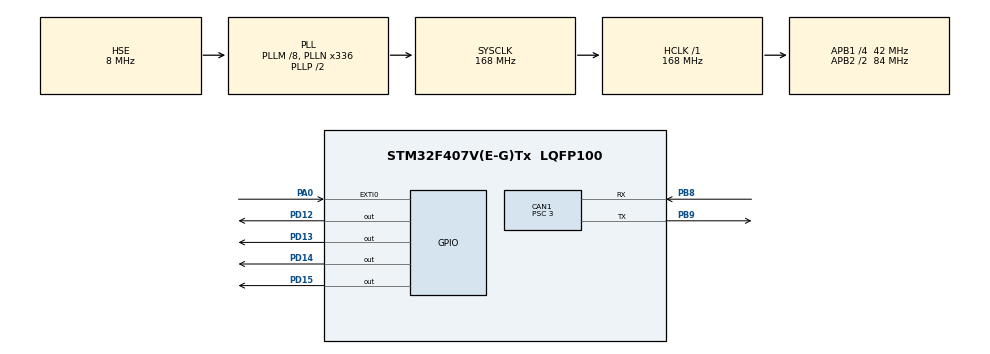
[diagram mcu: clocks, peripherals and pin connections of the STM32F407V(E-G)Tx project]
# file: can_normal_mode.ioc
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CAN1.BS1=CAN_BS1_11TQ
CAN1.BS2=CAN_BS2_2TQ
CAN1.CalculateBaudRate=1000000
CAN1.CalculateTimeBit=1000
CAN1.CalculateTimeQuantum=71.42857142857143
CAN1.Prescaler=3
Mcu.Family=STM32F4
Mcu.Name=STM32F407V(E-G)Tx
Mcu.Package=LQFP100
NVIC.CAN1_RX0_IRQn=true\:0\:0\:false\:false\:true\:true\:true\:true
NVIC.CAN1_SCE_IRQn=true\:0\:0\:false\:false\:true\:true\:true\:true
NVIC.CAN1_TX_IRQn=true\:0\:0\:false\:false\:true\:true\:true\:true
NVIC.EXTI0_IRQn=true\:0\:0\:false\:false\:true\:true\:true\:true
NVIC.PriorityGroup=NVIC_PRIORITYGROUP_0
NVIC.TIM1_BRK_TIM9_IRQn=true\:0\:0\:false\:false\:true\:true\:true\:true
PA0-WKUP.Signal=GPXTI0
PA13.Mode=Serial_Wire
PA13.Signal=SYS_JTMS-SWDIO
PA14.Mode=Serial_Wire
PA14.Signal=SYS_JTCK-SWCLK
PB8.Mode=CAN_Activate
PB8.Signal=CAN1_RX
PB9.Mode=CAN_Activate
PB9.Signal=CAN1_TX
PD12.Signal=GPIO_Output
PD13.Signal=GPIO_Output
PD14.Signal=GPIO_Output
PD15.Signal=GPIO_Output
PH0-OSC_IN.Mode=HSE-External-Oscillator
PH0-OSC_IN.Signal=RCC_OSC_IN
PH1-OSC_OUT.Mode=HSE-External-Oscillator
PH1-OSC_OUT.Signal=RCC_OSC_OUT
ProjectManager.HeapSize=0x200
ProjectManager.StackSize=0x400
ProjectManager.TargetToolchain=STM32CubeIDE
RCC.48MHZClocksFreq_Value=48000000
RCC.AHBFreq_Value=168000000
RCC.APB1CLKDivider=RCC_HCLK_DIV4
RCC.APB1Freq_Value=42000000
RCC.APB1TimFreq_Value=84000000
RCC.APB2CLKDivider=RCC_HCLK_DIV2
RCC.APB2Freq_Value=84000000
RCC.APB2TimFreq_Value=168000000
RCC.CortexFreq_Value=168000000
RCC.HCLKFreq_Value=168000000
RCC.HSE_VALUE=8000000
RCC.HSI_VALUE=16000000
RCC.PLLM=8
RCC.PLLN=336
RCC.PLLQ=7
RCC.PLLSourceVirtual=RCC_PLLSOURCE_HSE
RCC.SYSCLKFreq_VALUE=168000000
RCC.SYSCLKSource=RCC_SYSCLKSOURCE_PLLCLK
RCC.VCOOutputFreq_Value=336000000
TIM9.Period=9999
TIM9.Prescaler=16799
VP_TIM9_VS_ClockSourceINT.Mode=Internal
board=STM32F407G-DISC1

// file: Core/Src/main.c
/* USER CODE BEGIN Header */
/**
  ******************************************************************************
  * @file           : main.c
  * @brief          : Main program body
  ******************************************************************************
  * @attention
  *
  * Copyright (c) 2025 STMicroelectronics.
  * All rights reserved.
  *
  * This software is licensed under terms that can be found in the LICENSE file
  * in the root directory of this software component.
  * If no LICENSE file comes with this software, it is provided AS-IS.
  *
  ******************************************************************************
  */
/* USER CODE END Header */
#include "main.h"

CAN_HandleTypeDef hcan1;

TIM_HandleTypeDef htim9;

void SystemClock_Config(void);
static void MX_GPIO_Init(void);
static void MX_CAN1_Init(void);
static void MX_TIM9_Init(void);
/* USER CODE BEGIN PFP */

void CAN1_Tx(void);
void CAN1_Rx(void);
void CAN1_FilterConfig(void);

/* USER CODE END PFP */

/* USER CODE BEGIN 0 */
uint8_t led_no = 0;
/* USER CODE END 0 */

int main(void)
{

  /* MCU Configuration--------------------------------------------------------*/

  /* Reset of all peripherals, Initializes the Flash interface and the Systick. */
  HAL_Init();

  /* Configure the system clock */
  SystemClock_Config();

  /* Initialize all configured peripherals */
  MX_GPIO_Init();
  MX_CAN1_Init();
  MX_TIM9_Init();
  /* USER CODE BEGIN 2 */

  //before CAN1 Start, Enable Interrupt
  if( HAL_CAN_ActivateNotification(&hcan1, CAN_IT_TX_MAILBOX_EMPTY | CAN_IT_RX_FIFO0_MSG_PENDING | CAN_IT_BUSOFF) != HAL_OK)
  {
  	// Error_Handler();
  }

  if(HAL_CAN_Start(&hcan1) != HAL_OK) {Error_Handler(); }

  /* USER CODE END 2 */

  /* Infinite loop */
  while (1)
  {

  }
}

void SystemClock_Config(void)
{
  RCC_OscInitTypeDef RCC_OscInitStruct = {0};
  RCC_ClkInitTypeDef RCC_ClkInitStruct = {0};

  /** Configure the main internal regulator output voltage
  */
  __HAL_RCC_PWR_CLK_ENABLE();
  __HAL_PWR_VOLTAGESCALING_CONFIG(PWR_REGULATOR_VOLTAGE_SCALE1);

  /** Initializes the RCC Oscillators according to the specified parameters
  * in the RCC_OscInitTypeDef structure.
  */
  RCC_OscInitStruct.OscillatorType = RCC_OSCILLATORTYPE_HSE;
  RCC_OscInitStruct.HSEState = RCC_HSE_ON;
  RCC_OscInitStruct.PLL.PLLState = RCC_PLL_ON;
  RCC_OscInitStruct.PLL.PLLSource = RCC_PLLSOURCE_HSE;
  RCC_OscInitStruct.PLL.PLLM = 8;
  RCC_OscInitStruct.PLL.PLLN = 336;
  RCC_OscInitStruct.PLL.PLLP = RCC_PLLP_DIV2;
  RCC_OscInitStruct.PLL.PLLQ = 7;
  if (HAL_RCC_OscConfig(&RCC_OscInitStruct) != HAL_OK)
  {
    Error_Handler();
  }

  /** Initializes the CPU, AHB and APB buses clocks
  */
  RCC_ClkInitStruct.ClockType = RCC_CLOCKTYPE_HCLK|RCC_CLOCKTYPE_SYSCLK
                              |RCC_CLOCKTYPE_PCLK1|RCC_CLOCKTYPE_PCLK2;
  RCC_ClkInitStruct.SYSCLKSource = RCC_SYSCLKSOURCE_PLLCLK;
  RCC_ClkInitStruct.AHBCLKDivider = RCC_SYSCLK_DIV1;
  RCC_ClkInitStruct.APB1CLKDivider = RCC_HCLK_DIV4;
  RCC_ClkInitStruct.APB2CLKDivider = RCC_HCLK_DIV2;

  if (HAL_RCC_ClockConfig(&RCC_ClkInitStruct, FLASH_LATENCY_5) != HAL_OK)
  {
    Error_Handler();
  }
}

static void MX_CAN1_Init(void)
{

  hcan1.Instance = CAN1;
  hcan1.Init.Prescaler = 3;
  hcan1.Init.Mode = CAN_MODE_NORMAL;
  hcan1.Init.SyncJumpWidth = CAN_SJW_1TQ;
  hcan1.Init.TimeSeg1 = CAN_BS1_11TQ;
  hcan1.Init.TimeSeg2 = CAN_BS2_2TQ;
  hcan1.Init.TimeTriggeredMode = DISABLE;
  hcan1.Init.AutoBusOff = ENABLE;
  hcan1.Init.AutoWakeUp = DISABLE;
  hcan1.Init.AutoRetransmission = DISABLE;
  hcan1.Init.ReceiveFifoLocked = DISABLE;
  hcan1.Init.TransmitFifoPriority = DISABLE;
  if (HAL_CAN_Init(&hcan1) != HAL_OK)
  {
    Error_Handler();
  }

}

static void MX_TIM9_Init(void)
{

  TIM_ClockConfigTypeDef sClockSourceConfig = {0};

  htim9.Instance = TIM9;
  htim9.Init.Prescaler = 16799;
  htim9.Init.CounterMode = TIM_COUNTERMODE_UP;
  htim9.Init.Period = 9999;
  htim9.Init.ClockDivision = TIM_CLOCKDIVISION_DIV1;
  htim9.Init.AutoReloadPreload = TIM_AUTORELOAD_PRELOAD_DISABLE;
  if (HAL_TIM_Base_Init(&htim9) != HAL_OK)
  {
    Error_Handler();
  }
  sClockSourceConfig.ClockSource = TIM_CLOCKSOURCE_INTERNAL;
  if (HAL_TIM_ConfigClockSource(&htim9, &sClockSourceConfig) != HAL_OK)
  {
    Error_Handler();
  }

}

static void MX_GPIO_Init(void)
{
  GPIO_InitTypeDef GPIO_InitStruct = {0};

  /* GPIO Ports Clock Enable */
  __HAL_RCC_GPIOH_CLK_ENABLE();
  __HAL_RCC_GPIOA_CLK_ENABLE();
  __HAL_RCC_GPIOD_CLK_ENABLE();
  __HAL_RCC_GPIOB_CLK_ENABLE();

  /*Configure GPIO pin Output Level */
  HAL_GPIO_WritePin(GPIOD, GPIO_PIN_12|GPIO_PIN_13|GPIO_PIN_14|GPIO_PIN_15, GPIO_PIN_RESET);

  /*Configure GPIO pin : PA0 */
  GPIO_InitStruct.Pin = GPIO_PIN_0;
  GPIO_InitStruct.Mode = GPIO_MODE_IT_RISING;
  GPIO_InitStruct.Pull = GPIO_NOPULL;
  HAL_GPIO_Init(GPIOA, &GPIO_InitStruct);

  /*Configure GPIO pins : PD12 PD13 PD14 PD15 */
  GPIO_InitStruct.Pin = GPIO_PIN_12|GPIO_PIN_13|GPIO_PIN_14|GPIO_PIN_15;
  GPIO_InitStruct.Mode = GPIO_MODE_OUTPUT_PP;
  GPIO_InitStruct.Pull = GPIO_NOPULL;
  GPIO_InitStruct.Speed = GPIO_SPEED_FREQ_LOW;
  HAL_GPIO_Init(GPIOD, &GPIO_InitStruct);

  /* EXTI interrupt init*/
  HAL_NVIC_SetPriority(EXTI0_IRQn, 0, 0);
  HAL_NVIC_EnableIRQ(EXTI0_IRQn);

}

/* USER CODE BEGIN 4 */
void HAL_TIM_PeriodElapsedCallback(TIM_HandleTypeDef *htim)
{
    UNUSED(htim);
    CAN1_Tx();
}

void CAN1_Tx(void)
{
	uint32_t TxMailbox;
	uint8_t msg;
	msg = ++led_no;
	if(led_no == 4) {led_no = 0;}

	CAN_TxHeaderTypeDef TxHeader;
	TxHeader.DLC = 1;
	TxHeader.StdId = 0x65D;
	TxHeader.IDE = CAN_ID_STD;
	TxHeader.RTR = CAN_RTR_DATA;

	HAL_GPIO_TogglePin (GPIOD, GPIO_PIN_12);

	if( HAL_CAN_AddTxMessage (&hcan1, &TxHeader, msg, &TxMailbox) != HAL_OK)
	{
		Error_Handler();
	}

}

void CAN1_Rx(void)
{

}

void CAN1_FilterConfig(void)
{
    CAN_FilterTypeDef can1_filter;

    can1_filter.FilterActivation = ENABLE;
    can1_filter.FilterBank = 0;
    can1_filter.FilterFIFOAssignment = CAN_RX_FIFO0;
    can1_filter.FilterIdHigh = 0x0000;
    can1_filter.FilterIdLow = 0x0000;
    can1_filter.FilterMaskIdHigh = 0x0000;
    can1_filter.FilterMaskIdLow = 0x0000;
    can1_filter.FilterMode = CAN_FILTERMODE_IDMASK;
    can1_filter.FilterScale = CAN_FILTERSCALE_32BIT;

    if (HAL_CAN_ConfigFilter(&hcan1, &can1_filter) != HAL_OK)
    {
        Error_Handler();
    }
}

// Callback functions
void HAL_CAN_TxMailbox0CompleteCallback(CAN_HandleTypeDef *hcan)
{
	// printf()
}
void HAL_CAN_TxMailbox1CompleteCallback(CAN_HandleTypeDef *hcan)
{
	// printf()
}
void HAL_CAN_TxMailbox2CompleteCallback(CAN_HandleTypeDef *hcan)
{
	// printf()
}
void HAL_CAN_RxFifo0MsgPendingCallback(CAN_HandleTypeDef *hcan)
{
	CAN_RxHeaderTypeDef RxHeader;
	uint8_t rec_msg[11];

	//while( !HAL_CAN_GetRxFifoFillLevel(&hcan1, CAN_RX_FIFO0));

	if(HAL_CAN_GetRxMessage(&hcan1, CAN_RX_FIFO0, &RxHeader, rec_msg) != HAL_OK){
		Error_Handler();
	}
}
void HAL_CAN_ErrorCallback(CAN_HandleTypeDef *hcan)
{
	// printf();
}

/* USER CODE END 4 */

void Error_Handler(void)
{
  __disable_irq();
  while (1)
  {
  }
}
